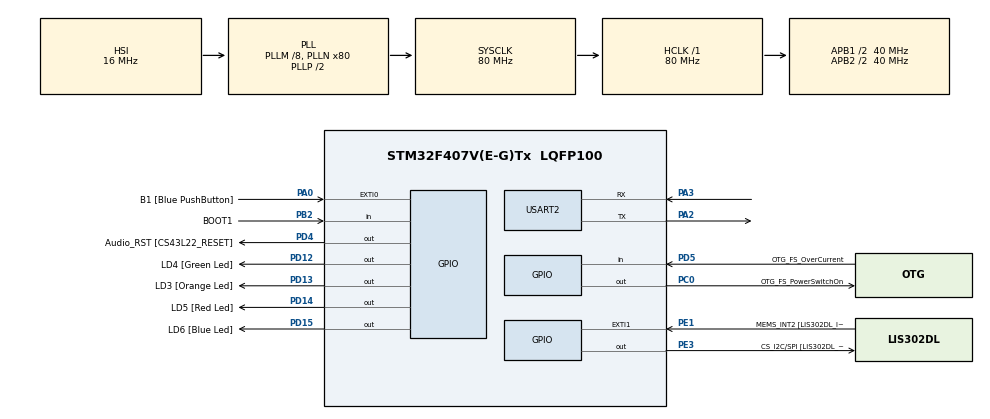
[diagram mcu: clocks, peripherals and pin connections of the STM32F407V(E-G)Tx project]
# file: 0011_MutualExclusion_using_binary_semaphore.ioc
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Mcu.Family=STM32F4
Mcu.Name=STM32F407V(E-G)Tx
Mcu.Package=LQFP100
NVIC.PriorityGroup=NVIC_PRIORITYGROUP_4
NVIC.TIM6_DAC_IRQn=true\:15\:0\:false\:false\:true\:false\:true\:true
NVIC.TimeBase=TIM6_DAC_IRQn
NVIC.TimeBaseIP=TIM6
PA0-WKUP.GPIO_Label=B1 [Blue PushButton]
PA0-WKUP.Signal=GPXTI0
PA10.GPIO_Label=OTG_FS_ID
PA10.GPIO_Mode=GPIO_MODE_AF_PP
PA10.GPIO_PuPd=GPIO_NOPULL
PA10.GPIO_Speed=GPIO_SPEED_FREQ_LOW
PA10.Signal=USB_OTG_FS_ID
PA11.GPIO_Label=OTG_FS_DM
PA11.GPIO_Mode=GPIO_MODE_AF_PP
PA11.GPIO_PuPd=GPIO_NOPULL
PA11.GPIO_Speed=GPIO_SPEED_FREQ_LOW
PA11.Signal=USB_OTG_FS_DM
PA12.GPIO_Label=OTG_FS_DP
PA12.GPIO_Mode=GPIO_MODE_AF_PP
PA12.GPIO_PuPd=GPIO_NOPULL
PA12.GPIO_Speed=GPIO_SPEED_FREQ_LOW
PA12.Signal=USB_OTG_FS_DP
PA13.GPIO_Label=SWDIO
PA13.Signal=SYS_JTMS-SWDIO
PA14.GPIO_Label=SWCLK
PA14.Signal=SYS_JTCK-SWCLK
PA2.Mode=Asynchronous
PA2.Signal=USART2_TX
PA3.Mode=Asynchronous
PA3.Signal=USART2_RX
PA4.GPIO_Label=I2S3_WS [CS43L22_LRCK]
PA4.GPIO_Mode=GPIO_MODE_AF_PP
PA4.GPIO_PuPd=GPIO_NOPULL
PA4.GPIO_Speed=GPIO_SPEED_FREQ_LOW
PA4.Signal=I2S3_WS
PA5.GPIO_Label=SPI1_SCK [LIS302DL_SCL/SPC]
PA5.GPIO_Mode=GPIO_MODE_AF_PP
PA5.GPIO_PuPd=GPIO_NOPULL
PA5.GPIO_Speed=GPIO_SPEED_FREQ_LOW
PA5.Signal=SPI1_SCK
PA6.GPIO_Label=SPI1_MISO [LIS302DL_SDO]
PA6.GPIO_Mode=GPIO_MODE_AF_PP
PA6.GPIO_PuPd=GPIO_NOPULL
PA6.GPIO_Speed=GPIO_SPEED_FREQ_LOW
PA6.Signal=SPI1_MISO
PA7.GPIO_Label=SPI1_MOSI [LIS302DL_SDA/SDI/SDO]
PA7.GPIO_Mode=GPIO_MODE_AF_PP
PA7.GPIO_PuPd=GPIO_NOPULL
PA7.GPIO_Speed=GPIO_SPEED_FREQ_LOW
PA7.Signal=SPI1_MOSI
PA9.GPIO_Label=VBUS_FS
PA9.GPIO_Mode=GPIO_MODE_INPUT
PA9.GPIO_PuPd=GPIO_NOPULL
PA9.Signal=USB_OTG_FS_VBUS
PB10.GPIO_Label=CLK_IN [MP45DT02_CLK]
PB10.GPIO_Mode=GPIO_MODE_AF_PP
PB10.GPIO_PuPd=GPIO_NOPULL
PB10.GPIO_Speed=GPIO_SPEED_FREQ_LOW
PB10.Signal=I2S2_CK
PB2.GPIO_Label=BOOT1
PB2.GPIO_Mode=GPIO_MODE_INPUT
PB2.GPIO_PuPd=GPIO_NOPULL
PB2.Signal=GPIO_Input
PB3.GPIO_Label=SWO
PB3.Signal=SYS_JTDO-SWO
PB6.GPIO_Label=Audio_SCL [CS43L22_SCL]
PB6.GPIO_Mode=GPIO_MODE_AF_OD
PB6.GPIO_PuPd=GPIO_NOPULL
PB6.GPIO_Speed=GPIO_SPEED_FREQ_LOW
PB6.Signal=I2C1_SCL
PB9.GPIO_Label=Audio_SDA [CS43L22_SDA]
PB9.GPIO_Mode=GPIO_MODE_AF_OD
PB9.GPIO_PuPd=GPIO_NOPULL
PB9.GPIO_Speed=GPIO_SPEED_FREQ_LOW
PB9.Signal=I2C1_SDA
PC0.GPIO_Label=OTG_FS_PowerSwitchOn
PC0.GPIO_PuPd=GPIO_NOPULL
PC0.GPIO_Speed=GPIO_SPEED_FREQ_LOW
PC0.PinState=GPIO_PIN_SET
PC0.Signal=GPIO_Output
PC10.GPIO_Label=I2S3_SCK [CS43L22_SCLK]
PC10.GPIO_Mode=GPIO_MODE_AF_PP
PC10.GPIO_PuPd=GPIO_NOPULL
PC10.GPIO_Speed=GPIO_SPEED_FREQ_LOW
PC10.Signal=I2S3_CK
PC12.GPIO_Label=I2S3_SD [CS43L22_SDIN]
PC12.GPIO_Mode=GPIO_MODE_AF_PP
PC12.GPIO_PuPd=GPIO_NOPULL
PC12.GPIO_Speed=GPIO_SPEED_FREQ_LOW
PC12.Signal=I2S3_SD
PC14-OSC32_IN.GPIO_Label=PC14-OSC32_IN
PC14-OSC32_IN.Signal=RCC_OSC32_IN
PC15-OSC32_OUT.GPIO_Label=PC15-OSC32_OUT
PC15-OSC32_OUT.Signal=RCC_OSC32_OUT
PC3.GPIO_Label=PDM_OUT [MP45DT02_DOUT]
PC3.GPIO_Mode=GPIO_MODE_AF_PP
PC3.GPIO_PuPd=GPIO_NOPULL
PC3.GPIO_Speed=GPIO_SPEED_FREQ_LOW
PC3.Signal=I2S2_SD
PC7.GPIO_Label=I2S3_MCK [CS43L22_MCLK]
PC7.GPIO_Mode=GPIO_MODE_AF_PP
PC7.GPIO_PuPd=GPIO_NOPULL
PC7.GPIO_Speed=GPIO_SPEED_FREQ_LOW
PC7.Signal=I2S3_MCK
PD12.GPIO_Label=LD4 [Green Led]
PD12.GPIO_PuPd=GPIO_NOPULL
PD12.GPIO_Speed=GPIO_SPEED_FREQ_LOW
PD12.Signal=GPIO_Output
PD13.GPIO_Label=LD3 [Orange Led]
PD13.GPIO_PuPd=GPIO_NOPULL
PD13.GPIO_Speed=GPIO_SPEED_FREQ_LOW
PD13.Signal=GPIO_Output
PD14.GPIO_Label=LD5 [Red Led]
PD14.GPIO_PuPd=GPIO_NOPULL
PD14.GPIO_Speed=GPIO_SPEED_FREQ_LOW
PD14.Signal=GPIO_Output
PD15.GPIO_Label=LD6 [Blue Led]
PD15.GPIO_PuPd=GPIO_NOPULL
PD15.GPIO_Speed=GPIO_SPEED_FREQ_LOW
PD15.Signal=GPIO_Output
PD4.GPIO_Label=Audio_RST [CS43L22_RESET]
PD4.GPIO_PuPd=GPIO_NOPULL
PD4.GPIO_Speed=GPIO_SPEED_FREQ_LOW
PD4.Signal=GPIO_Output
PD5.GPIO_Label=OTG_FS_OverCurrent
PD5.GPIO_Mode=GPIO_MODE_INPUT
PD5.GPIO_PuPd=GPIO_NOPULL
PD5.Signal=GPIO_Input
PE1.GPIO_Label=MEMS_INT2 [LIS302DL_INT2]
PE1.GPIO_ModeDefaultEXTI=GPIO_MODE_EVT_RISING
PE1.GPIO_PuPd=GPIO_NOPULL
PE1.Signal=GPXTI1
PE3.GPIO_Label=CS_I2C/SPI [LIS302DL_CS_I2C/SPI]
PE3.GPIO_PuPd=GPIO_NOPULL
PE3.GPIO_Speed=GPIO_SPEED_FREQ_LOW
PE3.Signal=GPIO_Output
PH0-OSC_IN.GPIO_Label=PH0-OSC_IN
PH0-OSC_IN.Signal=RCC_OSC_IN
PH1-OSC_OUT.GPIO_Label=PH1-OSC_OUT
PH1-OSC_OUT.Signal=RCC_OSC_OUT
ProjectManager.HeapSize=0x200
ProjectManager.StackSize=0x400
ProjectManager.TargetToolchain=STM32CubeIDE
RCC.48MHZClocksFreq_Value=22857142.85714286
RCC.AHBFreq_Value=80000000
RCC.APB1CLKDivider=RCC_HCLK_DIV2
RCC.APB1Freq_Value=40000000
RCC.APB1TimFreq_Value=80000000
RCC.APB2CLKDivider=RCC_HCLK_DIV2
RCC.APB2Freq_Value=40000000
RCC.APB2TimFreq_Value=80000000
RCC.CortexFreq_Value=80000000
RCC.HCLKFreq_Value=80000000
RCC.HSE_VALUE=8000000
RCC.HSI_VALUE=16000000
RCC.LSE_VALUE=32768
RCC.PLLM=8
RCC.PLLN=80
RCC.PLLQ=7
RCC.SYSCLKFreq_VALUE=80000000
RCC.SYSCLKSource=RCC_SYSCLKSOURCE_PLLCLK
RCC.VCOOutputFreq_Value=160000000
USART2.VirtualMode=VM_ASYNC
VP_SYS_VS_tim6.Mode=TIM6
board=STM32F407G-DISC1

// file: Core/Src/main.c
/* USER CODE BEGIN Header */
/**
  ******************************************************************************
  * @file           : main.c
  * @brief          : Main program body
  ******************************************************************************
  * @attention
  *
  * Copyright (c) 2025 STMicroelectronics.
  * All rights reserved.
  *
  * This software is licensed under terms that can be found in the LICENSE file
  * in the root directory of this software component.
  * If no LICENSE file comes with this software, it is provided AS-IS.
  *
  ******************************************************************************
  */
/* USER CODE END Header */
#include "main.h"

/* USER CODE BEGIN Includes */
/* Library includes. */
#include <stdio.h>
#include <stdlib.h>
#include <string.h>

/* FreeRTOS includes. */
#include "FreeRTOS.h"
#include "task.h"
#include "semphr.h"

#include "stm32f4xx.h"

/* USER CODE END Includes */

/* USER CODE BEGIN PD */
/* Used as a loop counter to create a very crude delay. */
#define mainDELAY_LOOP_COUNT		( 0xfffff )

/* USER CODE END PD */

UART_HandleTypeDef huart2;

/* USER CODE BEGIN PV */
//global space for some variable
char usr_msg[250]={0};
TaskHandle_t xTaskHandle1=NULL;
TaskHandle_t xTaskHandle2=NULL;

//binary semaphore handle
xSemaphoreHandle xBinarySemaphore;

/* USER CODE END PV */

void SystemClock_Config(void);
static void MX_GPIO_Init(void);
static void MX_USART2_UART_Init(void);
/* USER CODE BEGIN PFP */
void printmsg(char *msg);
/* The task functions. */
void vTask1( void *pvParameters );
void vTask2( void *pvParameters );

/* USER CODE END PFP */

int main(void)
{

  /* USER CODE BEGIN 1 */
	DWT->CTRL |= (1 << 0);//Enable CYCCNT in DWT_CTRL.

  /* USER CODE END 1 */

  /* MCU Configuration--------------------------------------------------------*/

  /* Reset of all peripherals, Initializes the Flash interface and the Systick. */
  HAL_Init();

  /* Configure the system clock */
  SystemClock_Config();

  /* Initialize all configured peripherals */
  MX_GPIO_Init();
  MX_USART2_UART_Init();
  /* USER CODE BEGIN 2 */
  //Start Recording
  	SEGGER_SYSVIEW_Conf();
  	//SEGGER_SYSVIEW_Start();

	sprintf(usr_msg,"Demo of Mutual exclusion using binary semaphore\r\n");
	printmsg(usr_msg);

	//Creating a binary semaphore
		vSemaphoreCreateBinary(xBinarySemaphore);

		 if(xBinarySemaphore != NULL)
		 {
				/* Create one of the two tasks. */
				xTaskCreate(	vTask1,		/* Pointer to the function that implements the task. */
								"Task 1",	/* Text name for the task.  This is to facilitate debugging only. */
								500,		/* Stack depth in words. */
								NULL,		/* We are not using the task parameter. */
								1,			/* This task will run at priority 1. */
								NULL );		/* We are not using the task handle. */

				/* Create the other task in exactly the same way. */
				xTaskCreate( vTask2, "Task 2", 500, NULL, 1, NULL );

				//makes sema available for the first time
				xSemaphoreGive(xBinarySemaphore);

				/* Start the scheduler so our tasks start executing. */
				vTaskStartScheduler();
		 }else
		 {
			 sprintf(usr_msg,"binary semaphore creation failed\r\n");
			 printmsg(usr_msg);

		 }

  /* USER CODE END 2 */

  /* Infinite loop */
  while (1)
  {

  }
}

void SystemClock_Config(void)
{
  RCC_OscInitTypeDef RCC_OscInitStruct = {0};
  RCC_ClkInitTypeDef RCC_ClkInitStruct = {0};

  /** Configure the main internal regulator output voltage
  */
  __HAL_RCC_PWR_CLK_ENABLE();
  __HAL_PWR_VOLTAGESCALING_CONFIG(PWR_REGULATOR_VOLTAGE_SCALE1);

  /** Initializes the RCC Oscillators according to the specified parameters
  * in the RCC_OscInitTypeDef structure.
  */
  RCC_OscInitStruct.OscillatorType = RCC_OSCILLATORTYPE_HSI;
  RCC_OscInitStruct.HSIState = RCC_HSI_ON;
  RCC_OscInitStruct.HSICalibrationValue = RCC_HSICALIBRATION_DEFAULT;
  RCC_OscInitStruct.PLL.PLLState = RCC_PLL_ON;
  RCC_OscInitStruct.PLL.PLLSource = RCC_PLLSOURCE_HSI;
  RCC_OscInitStruct.PLL.PLLM = 8;
  RCC_OscInitStruct.PLL.PLLN = 80;
  RCC_OscInitStruct.PLL.PLLP = RCC_PLLP_DIV2;
  RCC_OscInitStruct.PLL.PLLQ = 7;
  if (HAL_RCC_OscConfig(&RCC_OscInitStruct) != HAL_OK)
  {
    Error_Handler();
  }

  /** Initializes the CPU, AHB and APB buses clocks
  */
  RCC_ClkInitStruct.ClockType = RCC_CLOCKTYPE_HCLK|RCC_CLOCKTYPE_SYSCLK
                              |RCC_CLOCKTYPE_PCLK1|RCC_CLOCKTYPE_PCLK2;
  RCC_ClkInitStruct.SYSCLKSource = RCC_SYSCLKSOURCE_PLLCLK;
  RCC_ClkInitStruct.AHBCLKDivider = RCC_SYSCLK_DIV1;
  RCC_ClkInitStruct.APB1CLKDivider = RCC_HCLK_DIV2;
  RCC_ClkInitStruct.APB2CLKDivider = RCC_HCLK_DIV2;

  if (HAL_RCC_ClockConfig(&RCC_ClkInitStruct, FLASH_LATENCY_2) != HAL_OK)
  {
    Error_Handler();
  }
}

static void MX_USART2_UART_Init(void)
{

  huart2.Instance = USART2;
  huart2.Init.BaudRate = 115200;
  huart2.Init.WordLength = UART_WORDLENGTH_8B;
  huart2.Init.StopBits = UART_STOPBITS_1;
  huart2.Init.Parity = UART_PARITY_NONE;
  huart2.Init.Mode = UART_MODE_TX_RX;
  huart2.Init.HwFlowCtl = UART_HWCONTROL_NONE;
  huart2.Init.OverSampling = UART_OVERSAMPLING_16;
  if (HAL_UART_Init(&huart2) != HAL_OK)
  {
    Error_Handler();
  }

}

static void MX_GPIO_Init(void)
{
  GPIO_InitTypeDef GPIO_InitStruct = {0};

  /* GPIO Ports Clock Enable */
  __HAL_RCC_GPIOE_CLK_ENABLE();
  __HAL_RCC_GPIOC_CLK_ENABLE();
  __HAL_RCC_GPIOH_CLK_ENABLE();
  __HAL_RCC_GPIOA_CLK_ENABLE();
  __HAL_RCC_GPIOB_CLK_ENABLE();
  __HAL_RCC_GPIOD_CLK_ENABLE();

  /*Configure GPIO pin Output Level */
  HAL_GPIO_WritePin(CS_I2C_SPI_GPIO_Port, CS_I2C_SPI_Pin, GPIO_PIN_RESET);

  /*Configure GPIO pin Output Level */
  HAL_GPIO_WritePin(OTG_FS_PowerSwitchOn_GPIO_Port, OTG_FS_PowerSwitchOn_Pin, GPIO_PIN_SET);

  /*Configure GPIO pin Output Level */
  HAL_GPIO_WritePin(GPIOD, LD4_Pin|LD3_Pin|LD5_Pin|LD6_Pin
                          |Audio_RST_Pin, GPIO_PIN_RESET);

  /*Configure GPIO pin : CS_I2C_SPI_Pin */
  GPIO_InitStruct.Pin = CS_I2C_SPI_Pin;
  GPIO_InitStruct.Mode = GPIO_MODE_OUTPUT_PP;
  GPIO_InitStruct.Pull = GPIO_NOPULL;
  GPIO_InitStruct.Speed = GPIO_SPEED_FREQ_LOW;
  HAL_GPIO_Init(CS_I2C_SPI_GPIO_Port, &GPIO_InitStruct);

  /*Configure GPIO pin : OTG_FS_PowerSwitchOn_Pin */
  GPIO_InitStruct.Pin = OTG_FS_PowerSwitchOn_Pin;
  GPIO_InitStruct.Mode = GPIO_MODE_OUTPUT_PP;
  GPIO_InitStruct.Pull = GPIO_NOPULL;
  GPIO_InitStruct.Speed = GPIO_SPEED_FREQ_LOW;
  HAL_GPIO_Init(OTG_FS_PowerSwitchOn_GPIO_Port, &GPIO_InitStruct);

  /*Configure GPIO pin : PDM_OUT_Pin */
  GPIO_InitStruct.Pin = PDM_OUT_Pin;
  GPIO_InitStruct.Mode = GPIO_MODE_AF_PP;
  GPIO_InitStruct.Pull = GPIO_NOPULL;
  GPIO_InitStruct.Speed = GPIO_SPEED_FREQ_LOW;
  GPIO_InitStruct.Alternate = GPIO_AF5_SPI2;
  HAL_GPIO_Init(PDM_OUT_GPIO_Port, &GPIO_InitStruct);

  /*Configure GPIO pin : B1_Pin */
  GPIO_InitStruct.Pin = B1_Pin;
  GPIO_InitStruct.Mode = GPIO_MODE_IT_RISING;
  GPIO_InitStruct.Pull = GPIO_NOPULL;
  HAL_GPIO_Init(B1_GPIO_Port, &GPIO_InitStruct);

  /*Configure GPIO pin : I2S3_WS_Pin */
  GPIO_InitStruct.Pin = I2S3_WS_Pin;
  GPIO_InitStruct.Mode = GPIO_MODE_AF_PP;
  GPIO_InitStruct.Pull = GPIO_NOPULL;
  GPIO_InitStruct.Speed = GPIO_SPEED_FREQ_LOW;
  GPIO_InitStruct.Alternate = GPIO_AF6_SPI3;
  HAL_GPIO_Init(I2S3_WS_GPIO_Port, &GPIO_InitStruct);

  /*Configure GPIO pins : SPI1_SCK_Pin SPI1_MISO_Pin SPI1_MOSI_Pin */
  GPIO_InitStruct.Pin = SPI1_SCK_Pin|SPI1_MISO_Pin|SPI1_MOSI_Pin;
  GPIO_InitStruct.Mode = GPIO_MODE_AF_PP;
  GPIO_InitStruct.Pull = GPIO_NOPULL;
  GPIO_InitStruct.Speed = GPIO_SPEED_FREQ_LOW;
  GPIO_InitStruct.Alternate = GPIO_AF5_SPI1;
  HAL_GPIO_Init(GPIOA, &GPIO_InitStruct);

  /*Configure GPIO pin : BOOT1_Pin */
  GPIO_InitStruct.Pin = BOOT1_Pin;
  GPIO_InitStruct.Mode = GPIO_MODE_INPUT;
  GPIO_InitStruct.Pull = GPIO_NOPULL;
  HAL_GPIO_Init(BOOT1_GPIO_Port, &GPIO_InitStruct);

  /*Configure GPIO pin : CLK_IN_Pin */
  GPIO_InitStruct.Pin = CLK_IN_Pin;
  GPIO_InitStruct.Mode = GPIO_MODE_AF_PP;
  GPIO_InitStruct.Pull = GPIO_NOPULL;
  GPIO_InitStruct.Speed = GPIO_SPEED_FREQ_LOW;
  GPIO_InitStruct.Alternate = GPIO_AF5_SPI2;
  HAL_GPIO_Init(CLK_IN_GPIO_Port, &GPIO_InitStruct);

  /*Configure GPIO pins : LD4_Pin LD3_Pin LD5_Pin LD6_Pin
                           Audio_RST_Pin */
  GPIO_InitStruct.Pin = LD4_Pin|LD3_Pin|LD5_Pin|LD6_Pin
                          |Audio_RST_Pin;
  GPIO_InitStruct.Mode = GPIO_MODE_OUTPUT_PP;
  GPIO_InitStruct.Pull = GPIO_NOPULL;
  GPIO_InitStruct.Speed = GPIO_SPEED_FREQ_LOW;
  HAL_GPIO_Init(GPIOD, &GPIO_InitStruct);

  /*Configure GPIO pins : I2S3_MCK_Pin I2S3_SCK_Pin I2S3_SD_Pin */
  GPIO_InitStruct.Pin = I2S3_MCK_Pin|I2S3_SCK_Pin|I2S3_SD_Pin;
  GPIO_InitStruct.Mode = GPIO_MODE_AF_PP;
  GPIO_InitStruct.Pull = GPIO_NOPULL;
  GPIO_InitStruct.Speed = GPIO_SPEED_FREQ_LOW;
  GPIO_InitStruct.Alternate = GPIO_AF6_SPI3;
  HAL_GPIO_Init(GPIOC, &GPIO_InitStruct);

  /*Configure GPIO pin : VBUS_FS_Pin */
  GPIO_InitStruct.Pin = VBUS_FS_Pin;
  GPIO_InitStruct.Mode = GPIO_MODE_INPUT;
  GPIO_InitStruct.Pull = GPIO_NOPULL;
  HAL_GPIO_Init(VBUS_FS_GPIO_Port, &GPIO_InitStruct);

  /*Configure GPIO pins : OTG_FS_ID_Pin OTG_FS_DM_Pin OTG_FS_DP_Pin */
  GPIO_InitStruct.Pin = OTG_FS_ID_Pin|OTG_FS_DM_Pin|OTG_FS_DP_Pin;
  GPIO_InitStruct.Mode = GPIO_MODE_AF_PP;
  GPIO_InitStruct.Pull = GPIO_NOPULL;
  GPIO_InitStruct.Speed = GPIO_SPEED_FREQ_LOW;
  GPIO_InitStruct.Alternate = GPIO_AF10_OTG_FS;
  HAL_GPIO_Init(GPIOA, &GPIO_InitStruct);

  /*Configure GPIO pin : OTG_FS_OverCurrent_Pin */
  GPIO_InitStruct.Pin = OTG_FS_OverCurrent_Pin;
  GPIO_InitStruct.Mode = GPIO_MODE_INPUT;
  GPIO_InitStruct.Pull = GPIO_NOPULL;
  HAL_GPIO_Init(OTG_FS_OverCurrent_GPIO_Port, &GPIO_InitStruct);

  /*Configure GPIO pins : Audio_SCL_Pin Audio_SDA_Pin */
  GPIO_InitStruct.Pin = Audio_SCL_Pin|Audio_SDA_Pin;
  GPIO_InitStruct.Mode = GPIO_MODE_AF_OD;
  GPIO_InitStruct.Pull = GPIO_NOPULL;
  GPIO_InitStruct.Speed = GPIO_SPEED_FREQ_LOW;
  GPIO_InitStruct.Alternate = GPIO_AF4_I2C1;
  HAL_GPIO_Init(GPIOB, &GPIO_InitStruct);

  /*Configure GPIO pin : MEMS_INT2_Pin */
  GPIO_InitStruct.Pin = MEMS_INT2_Pin;
  GPIO_InitStruct.Mode = GPIO_MODE_EVT_RISING;
  GPIO_InitStruct.Pull = GPIO_NOPULL;
  HAL_GPIO_Init(MEMS_INT2_GPIO_Port, &GPIO_InitStruct);

}

/* USER CODE BEGIN 4 */

void vTask1( void *pvParameters )
{
	const char *pcTaskName = "Task 1 is running\r\n";

	/* As per most tasks, this task is implemented in an infinite loop. */
	for( ;; )
	{

		//before printing , lets own the semaphore or take the semaphore */
		xSemaphoreTake( xBinarySemaphore, portMAX_DELAY );

		/* Print out the name of this task. */
		sprintf( usr_msg,"%s",pcTaskName);
		printmsg(usr_msg);

		//give the semaphore here. give operation increases the bin sema value back to 1
		xSemaphoreGive(xBinarySemaphore);

		/*Now this task will be blocked for 500ticks */
		vTaskDelay( pdMS_TO_TICKS(500) );
	}
}

void vTask2( void *pvParameters )
{

	const char *pcTaskName = "Task 2 is running\r\n";

	/* As per most tasks, this task is implemented in an infinite loop. */
	for( ;; )
	{

		//before printing , lets own the semaphore or take the semaphore */
		xSemaphoreTake( xBinarySemaphore, portMAX_DELAY );

		/* Print out the name of this task. */
		sprintf( usr_msg,"%s",pcTaskName);
		printmsg(usr_msg);

		//give the semaphore here. give operation increases the bin sema value back to 1
		xSemaphoreGive(xBinarySemaphore);

		/*Now this task will be blocked for 500ticks */
		vTaskDelay( pdMS_TO_TICKS(500));
	}
}

void printmsg(char *msg)
{
	HAL_UART_Transmit(&huart2, (uint8_t*)msg, strlen(msg), HAL_MAX_DELAY);
}

/* USER CODE END 4 */

void HAL_TIM_PeriodElapsedCallback(TIM_HandleTypeDef *htim)
{
  if (htim->Instance == TIM6) {
    HAL_IncTick();
  }
}

void Error_Handler(void)
{
  __disable_irq();
  while (1)
  {
  }
}
